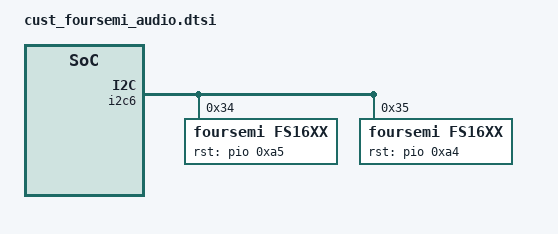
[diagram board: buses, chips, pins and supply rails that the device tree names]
// SPDX-License-Identifier: GPL-2.0-only
/* Redmi Note 12S (sea / mt6781) FourSemi FS16xx SmartPA I2C6 bindings for Kernel 6.6 */

&i2c6 {
    fs16xx@34 {
        compatible = "foursemi,fs16xx";
        reg = <0x34>;
        fsm,rst-gpio = <&pio 0xa5 0x0>;
        status = "okay";
    };
    fs16xx@35 {
        compatible = "foursemi,fs16xx";
        reg = <0x35>;
        fsm,rst-gpio = <&pio 0xa4 0x0>;
        status = "okay";
    };
};
